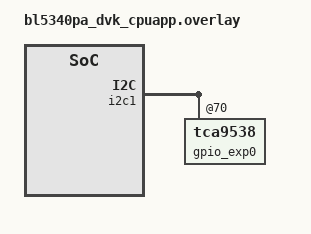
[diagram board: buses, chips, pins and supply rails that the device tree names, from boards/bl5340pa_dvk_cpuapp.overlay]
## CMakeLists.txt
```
# SPDX-License-Identifier: Apache-2.0

cmake_minimum_required(VERSION 3.20.0)

if(BOARD STREQUAL bl5340pa_dvk_cpuapp)
    # If child_image/hci_rpmsg.conf exists, then it must be explicitly set
    # before using append.
    list(APPEND hci_rpmsg_OVERLAY_CONFIG ${CMAKE_SOURCE_DIR}/boards/fem.conf)
endif()

# Allow testing of Laird Connectivity FEM driver with Nordic DKs
if(MOCK_LCZ_FEM AND BOARD STREQUAL nrf5340dk_nrf5340_cpuapp
    AND hci_rpmsg_SHIELD STREQUAL nrf21540_ek)
    message("Mocking Laird Connectivity Zephyr FEM Driver on nrf5340dk")
    list(APPEND hci_rpmsg_OVERLAY_CONFIG ${CMAKE_SOURCE_DIR}/boards/fem.conf)
    list(APPEND hci_rpmsg_DTC_OVERLAY_FILE ${CMAKE_SOURCE_DIR}/child_image/mock_lcz_fem.nrf21540_ek.overlay)
endif()

if(MOCK_LCZ_FEM AND BOARD STREQUAL nrf21540dk_nrf52840)
    message("Mocking Laird Connectivity Zephyr FEM Driver on nrf21540dk")
    list(APPEND OVERLAY_CONFIG ${CMAKE_SOURCE_DIR}/boards/fem.conf)
    list(APPEND DTC_OVERLAY_FILE ${CMAKE_SOURCE_DIR}/boards/mock_lcz_fem.overlay)
endif()

# Network cpu doesn't have low power uart control
# If SPI control of FEM is used, then network UART isn't available and
# either RTT or USB can be used.
if(BOARD STREQUAL bl5340_dvk_cpuapp OR BOARD STREQUAL bl5340pa_dvk_cpuapp
    OR BOARD STREQUAL nrf5340dk_nrf5340_cpuapp)
if(LOG_TYPE STREQUAL uart)
    list(APPEND hci_rpmsg_OVERLAY_CONFIG ${CMAKE_SOURCE_DIR}/child_image/uart_log.conf)
elseif(LOG_TYPE STREQUAL rtt)
    list(APPEND hci_rpmsg_OVERLAY_CONFIG ${CMAKE_SOURCE_DIR}/child_image/rtt_log.conf)
    list(APPEND hci_rpmsg_DTC_OVERLAY_FILE ${CMAKE_SOURCE_DIR}/child_image/disable_uart.overlay)
else()
    list(APPEND hci_rpmsg_OVERLAY_CONFIG ${CMAKE_SOURCE_DIR}/child_image/no_log.conf)
    list(APPEND hci_rpmsg_DTC_OVERLAY_FILE ${CMAKE_SOURCE_DIR}/child_image/disable_uart.overlay)
endif()
endif() #CPUNET

find_package(Zephyr REQUIRED HINTS $ENV{ZEPHYR_BASE})
project(sleepy_advertiser)

target_sources(app PRIVATE src/main.c)
```

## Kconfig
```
# Copyright (c) 2021 Nordic Semiconductor ASA
# Copyright (c) 2023 Laird Connectivity
# SPDX-License-Identifier: Apache-2.0

mainmenu "Nordic Sleepy Advertiser Demo"

config ADVERTISE
	bool "Advertise on startup"
	depends on BT
	help
	  Rate is approximately 1 second.

config ADVERTISE_FAST
	bool "Advertise quickly"
	depends on ADVERTISE
	help
	  Reduce the amount of time required to obtain RF power measurements
	  using max hold. Increases current consumption.
	  Rate is approximately 30 ms.

config SCANNABLE
	bool "Advertise as scannable"
	depends on ADVERTISE
	help
	  Allow transmission of empty scan response.
	  Used to confirm GPIO states of FEM in receive mode.

config SLEEP_DURATION_SECONDS
	int "Seconds [to advertise] before going into system off"
	default 30

source "Kconfig.zephyr"
```

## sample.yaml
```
sample:
  name: Sleepy Advertiser
common:
  tags: power bluetooth
tests:
  sample.boards.nrf.sleepy_advertiser:
    build_only: true
    platform_allow: |
      nrf21540dk_nrf52840 bl5340_dvk_cpuapp bl5340pa_dvk_cpuapp
      nrf52840dk_nrf52840 nrf52dk_nrf52832 nrf51dk_nrf51422
      nrf5340dk_nrf5340_cpuapp
  sample.boards.nrf.sleepy_advertiser.mock_using_nrf52840:
    build_only: true
    platform_allow: |
      nrf21540dk_nrf52840
    extra_args: MOCK_LCZ_FEM=y
  sample.boards.nrf.sleepy_advertiser.shield:
    build_only: true
    platform_allow: |
      nrf5340dk_nrf5340_cpuapp
    extra_args: SHIELD=nrf21540_ek_fwd hci_rpmsg_SHIELD=nrf21540_ek
  sample.boards.nrf.sleepy_advertiser.mock_using_nrf5340:
    build_only: true
    platform_allow: |
      nrf5340dk_nrf5340_cpuapp
    extra_args: SHIELD=nrf21540_ek_fwd hci_rpmsg_SHIELD=nrf21540_ek MOCK_LCZ_FEM=y
  sample.boards.nrf.sleepy_advertiser.bl5340_internal_ant_no_adv:
    build_only: true
    platform_allow: |
      bl5340pa_dvk_cpuapp
    extra_args: hci_rpmsg_CONFIG_LCZ_FEM_INTERNAL_ANTENNA=y
    extra_configs:
      - CONFIG_ADVERTISE=n
  sample.boards.nrf.sleepy_advertiser.other_options:
    build_only: true
    platform_allow: |
      nrf21540dk_nrf52840 bl5340pa_dvk_cpuapp
    extra_configs:
      - CONFIG_ADVERTISE_FAST=y
      - CONFIG_SCANNABLE=y
      - CONFIG_SLEEP_DURATION_SECONDS=600
```

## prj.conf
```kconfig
# Sleepy Advertiser

# If Bluetooth is enabled, then a network CPU image will be generated (if applicable).
CONFIG_BT=y
# If Bluetooth is enabled, then the FEM GPIO will be initialized (if applicable).
CONFIG_ADVERTISE=y
CONFIG_BT_DEVICE_NAME="Sleepy Advertiser"

CONFIG_LOG=y
CONFIG_LOG_MODE_IMMEDIATE=y

CONFIG_PM=y
# Required to disable default behavior of deep sleep on timeout
CONFIG_PM_DEVICE=y
```

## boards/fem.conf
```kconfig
# Mode is fixed on BL5340PA.
CONFIG_MPSL_FEM_NRF21540_TX_GAIN_DB=20
CONFIG_BT_CTLR_TX_PWR_ANTENNA=20
```

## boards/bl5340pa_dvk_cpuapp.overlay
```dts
/* Prevent port expander driver configuration of [port] interrupt (+60 uA sleep). */
&i2c1 {
	gpio_exp0: tca9538@70 {
		/delete-property/ nint-gpios;
	};
};
```

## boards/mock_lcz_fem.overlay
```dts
/*
 * Make nrf21540dk have the same FEM control as the BL5340PA.
 */

fem_spi: &spi3 {
    status = "disabled";
	nrf_radio_fem_spi: nrf21540_fem_spi@0 {
		status = "disabled";
    };
};

/ {
    nrf_radio_fem: nrf21540_fem {
        /delete-property/ ant-sel-gpios;
        /delete-property/ spi-if;
    };

    /* Development board uses switch connectors (there are two internal antennas).
     * When mocking, internal-antenna means use the connector closest to 4 buttons.
     */
    lcz_fem: nrf21540_lcz_fem {
        compatible = "lairdconnect,nrf21540-lcz-fem";
        ant-sel-gpios = <&gpio0 20 GPIO_ACTIVE_HIGH>;
        spi-clk-gpios = <&gpio1 15 GPIO_ACTIVE_HIGH>;
        spi-mosi-gpios = <&gpio1 13 GPIO_ACTIVE_HIGH>;
        spi-csn-gpios = <&gpio0 21 GPIO_ACTIVE_LOW>;
        spi-miso-gpios = <&gpio1 4 GPIO_ACTIVE_HIGH>;
        internal-antenna;
    };
};
```

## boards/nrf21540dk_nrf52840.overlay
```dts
/* Disable to achieve lower sleep current. */
arduino_serial: &uart1 {
    status = "disabled";
};
```

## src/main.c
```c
/*
 * Copyright (c) 2015-2016 Intel Corporation
 * Copyright (c) 2019 Nordic Semiconductor ASA
 * Copyright (c) 2023 Laird Connectivity
 *
 * SPDX-License-Identifier: Apache-2.0
 */
#include <zephyr/logging/log.h>
LOG_MODULE_REGISTER(main, CONFIG_LOG_DEFAULT_LEVEL);

#include <zephyr/kernel.h>
#include <zephyr/device.h>
#include <zephyr/init.h>
#include <zephyr/pm/pm.h>
#include <zephyr/pm/device.h>
#include <zephyr/pm/policy.h>

#include <zephyr/bluetooth/bluetooth.h>

#if defined(CONFIG_BT)
#define DEVICE_NAME	CONFIG_BT_DEVICE_NAME
#define DEVICE_NAME_LEN (sizeof(DEVICE_NAME) - 1)

#if defined(CONFIG_ADVERTISE)

#if defined(CONFIG_ADVERTISE_FAST)
#define RATE BT_GAP_ADV_FAST_INT_MIN_1
#else
#define RATE BT_GAP_ADV_SLOW_INT_MIN
#endif

#if defined(CONFIG_SCANNABLE)
#define OPT BT_LE_ADV_OPT_SCANNABLE
#else
#define OPT BT_LE_ADV_OPT_NONE
#endif

#define ADV_PARAM BT_LE_ADV_PARAM(OPT, RATE, (RATE + 1), NULL)

static const struct bt_data ad[] = {
	BT_DATA_BYTES(BT_DATA_FLAGS, BT_LE_AD_NO_BREDR),
	BT_DATA(BT_DATA_NAME_COMPLETE, DEVICE_NAME, DEVICE_NAME_LEN),
};
#endif
#endif

/* Prevent deep sleep (system off) from being entered on long timeouts
 * or `K_FOREVER` due to the default residency policy.
 *
 * This has to be done before anything tries to sleep, which means
 * before the threading system starts up between PRE_KERNEL_2 and
 * POST_KERNEL.  Do it at the start of PRE_KERNEL_2.
 */
static int disable_ds_1(const struct device *dev)
{
	ARG_UNUSED(dev);

	pm_policy_state_lock_get(PM_STATE_SOFT_OFF, PM_ALL_SUBSTATES);
	return 0;
}

SYS_INIT(disable_ds_1, PRE_KERNEL_2, 0);

#if defined(CONFIG_BT)
static void start_advertising(void)
{
#if defined(CONFIG_ADVERTISE)
	int rc;

	rc = bt_le_adv_start(ADV_PARAM, ad, ARRAY_SIZE(ad), NULL, 0);
	LOG_INF("Advertising start: %d", rc);
#endif
}

static void bt_ready(int err)
{
	LOG_INF("Bluetooth ready: %d", err);
	if (err) {
		return;
	}

	start_advertising();
}
#endif

void main(void)
{
	int rc;
	int rc2;
	const struct device *const cons = DEVICE_DT_GET(DT_CHOSEN(zephyr_console));

	if (!device_is_ready(cons)) {
		LOG_ERR("%s: device not ready.", cons->name);
		return;
	}

	LOG_INF("%s BT sleepy advertiser", CONFIG_BOARD);

#if defined(CONFIG_BT)
	rc = bt_enable(bt_ready);
	if (rc < 0) {
		LOG_ERR("Bluetooth init: %d", rc);
	}
	k_sleep(K_SECONDS(1));
#endif

	LOG_INF("Sleep %u s with UART off", CONFIG_SLEEP_DURATION_SECONDS);
	rc = pm_device_action_run(cons, PM_DEVICE_ACTION_SUSPEND);
	k_sleep(K_SECONDS(CONFIG_SLEEP_DURATION_SECONDS));
	rc2 = pm_device_action_run(cons, PM_DEVICE_ACTION_RESUME);
	LOG_INF("suspend status: %d resume status: %d", rc, rc2);

	LOG_INF("Entering system off; press reset button to restart");

	/* Above we disabled entry to deep sleep based on duration of
	 * controlled delay.  Here we need to override that, then
	 * force entry to deep sleep on any delay.
	 */
	pm_state_force(0u, &(struct pm_state_info){PM_STATE_SOFT_OFF, 0, 0});

	/* Now we need to go sleep. This will let the idle thread run and
	 * the pm subsystem will use the forced state.
	 */
	k_sleep(K_SECONDS(1));

	pm_device_action_run(cons, PM_DEVICE_ACTION_RESUME);
	LOG_ERR("System off failed");
}
```
